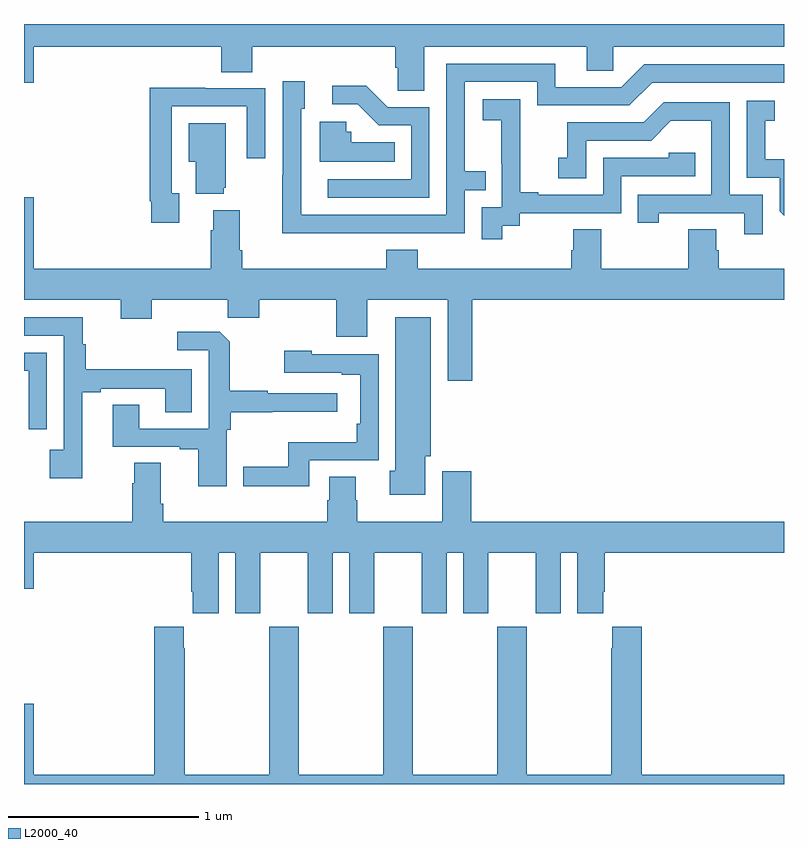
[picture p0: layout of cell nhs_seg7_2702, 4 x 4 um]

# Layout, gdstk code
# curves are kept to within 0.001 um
import gdstk
lib = gdstk.Library(unit=1e-6, precision=1e-09)
def P(c, l, *ps):  # polygons
    for p in ps: c.add(gdstk.Polygon(p, *l))
L2000_40 = (2000, 40)

nhs_seg7_2702 = lib.new_cell('nhs_seg7_2702')
P(nhs_seg7_2702, L2000_40, [(287.107,1069.88),(287.963,1069.88),(287.963,1069.753),(288.102,1069.753),(288.102,1069.88),(289,1069.88),(289,1070),(285,1070),(285,1069.692),(285.052,1069.692),(285.052,1069.88),(286.037,1069.88),(286.037,1069.747),(286.202,1069.747),(286.202,1069.88),(286.955,1069.88),(286.955,1069.771),(286.968,1069.771),(286.968,1069.648),(287.107,1069.648)],
  [(286.823,1068.9),(287.319,1068.9),(287.319,1069.125),(287.429,1069.125),(287.429,1069.226),(287.319,1069.226),(287.319,1069.695),(287.7,1069.695),(287.7,1069.572),(288.186,1069.572),(288.306,1069.692),(289,1069.692),(289,1069.788),(288.264,1069.788),(288.144,1069.668),(287.797,1069.668),(287.797,1069.791),(287.223,1069.791),(287.223,1068.996),(286.459,1068.996),(286.458,1069.554),(286.477,1069.554),(286.477,1069.699),(286.362,1069.699),(286.362,1069.205),(286.36,1069.205),(286.36,1068.899)],
  [(287.133,1069.563),(286.914,1069.563),(286.801,1069.676),(286.623,1069.676),(286.623,1069.578),(286.757,1069.578),(286.868,1069.467),(287.037,1069.467),(287.037,1069.182),(286.599,1069.182),(286.599,1069.086),(287.133,1069.086)],
  [(285.817,1069.11),(285.777,1069.11),(285.777,1069.566),(286.173,1069.566),(286.173,1069.293),(286.269,1069.293),(286.269,1069.662),(285.953,1069.662),(285.953,1069.664),(285.661,1069.664),(285.661,1069.066),(285.669,1069.066),(285.669,1068.954),(285.817,1068.954)],
  [(287.518,1068.937),(287.61,1068.937),(287.61,1069.005),(288.144,1069.005),(288.144,1069.2),(288.533,1069.2),(288.533,1069.323),(288.393,1069.323),(288.393,1069.296),(288.048,1069.296),(288.048,1069.101),(287.707,1069.101),(287.707,1069.114),(287.612,1069.114),(287.612,1069.397),(287.613,1069.397),(287.613,1069.603),(287.415,1069.603),(287.415,1069.493),(287.513,1069.493),(287.513,1069.265),(287.514,1069.265),(287.514,1069.035),(287.409,1069.035),(287.409,1068.867),(287.518,1068.867)],
  [(289,1069.287),(288.901,1069.287),(288.901,1069.491),(288.95,1069.491),(288.95,1069.597),(288.804,1069.597),(288.804,1069.191),(288.978,1069.191),(288.978,1069.014),(289,1068.992)],
  [(288.888,1069.101),(288.714,1069.101),(288.714,1069.587),(288.368,1069.587),(288.263,1069.482),(287.86,1069.482),(287.86,1069.297),(287.811,1069.297),(287.811,1069.188),(287.958,1069.188),(287.958,1069.386),(288.3,1069.386),(288.404,1069.49),(288.618,1069.49),(288.618,1069.101),(288.229,1069.101),(288.229,1068.954),(288.34,1068.954),(288.34,1069.005),(288.791,1069.005),(288.791,1068.894),(288.888,1068.894)],
  [(286.952,1069.378),(286.722,1069.378),(286.722,1069.434),(286.695,1069.434),(286.695,1069.486),(286.556,1069.486),(286.556,1069.274),(286.952,1069.274)],
  [(286.052,1069.137),(286.063,1069.137),(286.063,1069.477),(285.866,1069.477),(285.866,1069.274),(285.905,1069.274),(285.905,1069.106),(286.052,1069.106)],
  [(285,1069.087),(285,1068.548),(285.509,1068.548),(285.509,1068.449),(285.673,1068.449),(285.673,1068.548),(286.073,1068.548),(286.073,1068.455),(286.237,1068.455),(286.237,1068.548),(286.643,1068.548),(286.643,1068.354),(286.807,1068.354),(286.807,1068.548),(287.231,1068.548),(287.231,1068.123),(287.36,1068.123),(287.36,1068.548),(289,1068.548),(289,1068.712),(288.656,1068.712),(288.656,1068.81),(288.643,1068.81),(288.643,1068.92),(288.496,1068.92),(288.496,1068.712),(288.039,1068.712),(288.039,1068.92),(287.891,1068.92),(287.891,1068.81),(287.879,1068.81),(287.879,1068.712),(287.072,1068.712),(287.072,1068.811),(286.907,1068.811),(286.907,1068.712),(286.148,1068.712),(286.148,1068.808),(286.135,1068.808),(286.135,1069.021),(285.995,1069.021),(285.995,1068.914),(285.983,1068.914),(285.983,1068.712),(285.052,1068.712),(285.052,1069.087)],
  [(287.113,1067.724),(287.14,1067.724),(287.14,1068.457),(286.955,1068.457),(286.955,1067.648),(286.925,1067.648),(286.925,1067.522),(287.113,1067.522)],
  [(285.307,1068.061),(285.403,1068.061),(285.403,1068.081),(285.743,1068.081),(285.743,1067.956),(285.883,1067.956),(285.883,1068.182),(285.326,1068.182),(285.326,1068.314),(285.308,1068.314),(285.308,1068.456),(285,1068.456),(285,1068.36),(285.21,1068.36),(285.21,1067.758),(285.135,1067.758),(285.135,1067.61),(285.307,1067.61)],
  [(286.068,1067.864),(286.088,1067.864),(286.088,1067.956),(286.307,1067.956),(286.307,1067.96),(286.648,1067.96),(286.648,1068.057),(286.283,1068.057),(286.283,1068.07),(286.083,1068.07),(286.083,1068.327),(286.031,1068.379),(285.807,1068.379),(285.807,1068.282),(285.972,1068.282),(285.972,1067.871),(285.607,1067.871),(285.607,1067.996),(285.467,1067.996),(285.467,1067.775),(285.821,1067.775),(285.821,1067.763),(285.917,1067.763),(285.917,1067.568),(286.068,1067.568)],
  [(286.5,1067.703),(286.866,1067.703),(286.866,1068.261),(286.515,1068.261),(286.515,1068.28),(286.371,1068.28),(286.371,1068.165),(286.673,1068.165),(286.673,1068.153),(286.77,1068.153),(286.77,1067.896),(286.75,1067.896),(286.75,1067.8),(286.392,1067.8),(286.392,1067.669),(286.155,1067.669),(286.155,1067.567),(286.5,1067.567)],
  [(285.12,1068.27),(285,1068.27),(285,1068.174),(285.024,1068.174),(285.024,1067.868),(285.12,1067.868)],
  [(286.024,1067.216),(286.112,1067.216),(286.112,1066.899),(286.243,1066.899),(286.243,1067.216),(286.493,1067.216),(286.493,1066.899),(286.624,1066.899),(286.624,1067.216),(286.712,1067.216),(286.712,1066.899),(286.843,1066.899),(286.843,1067.216),(287.093,1067.216),(287.093,1066.899),(287.224,1066.899),(287.224,1067.216),(287.312,1067.216),(287.312,1066.899),(287.443,1066.899),(287.443,1067.216),(287.693,1067.216),(287.693,1066.899),(287.824,1066.899),(287.824,1067.216),(287.912,1067.216),(287.912,1066.899),(288.049,1066.899),(288.049,1067.011),(288.056,1067.011),(288.056,1067.216),(289,1067.216),(289,1067.38),(287.354,1067.38),(287.354,1067.647),(287.201,1067.647),(287.201,1067.38),(286.755,1067.38),(286.755,1067.493),(286.747,1067.493),(286.747,1067.618),(286.607,1067.618),(286.607,1067.493),(286.595,1067.493),(286.595,1067.38),(285.734,1067.38),(285.734,1067.476),(285.721,1067.476),(285.721,1067.69),(285.581,1067.69),(285.581,1067.582),(285.569,1067.582),(285.569,1067.38),(285,1067.38),(285,1067.028),(285.052,1067.028),(285.052,1067.216),(285.881,1067.216),(285.881,1067.011),(285.887,1067.011),(285.887,1066.899),(286.024,1066.899)],
  [(289,1066.048),(288.251,1066.048),(288.251,1066.828),(288.095,1066.828),(288.095,1066.715),(288.091,1066.715),(288.091,1066.048),(287.646,1066.048),(287.646,1066.828),(287.491,1066.828),(287.491,1066.048),(287.046,1066.048),(287.046,1066.828),(286.891,1066.828),(286.891,1066.048),(286.446,1066.048),(286.446,1066.828),(286.291,1066.828),(286.291,1066.048),(285.846,1066.048),(285.846,1066.715),(285.841,1066.715),(285.841,1066.828),(285.686,1066.828),(285.686,1066.048),(285.052,1066.048),(285.052,1066.423),(285,1066.423),(285,1066),(289,1066)])

lib.write_gds('nhs_seg7_2702.gds')
